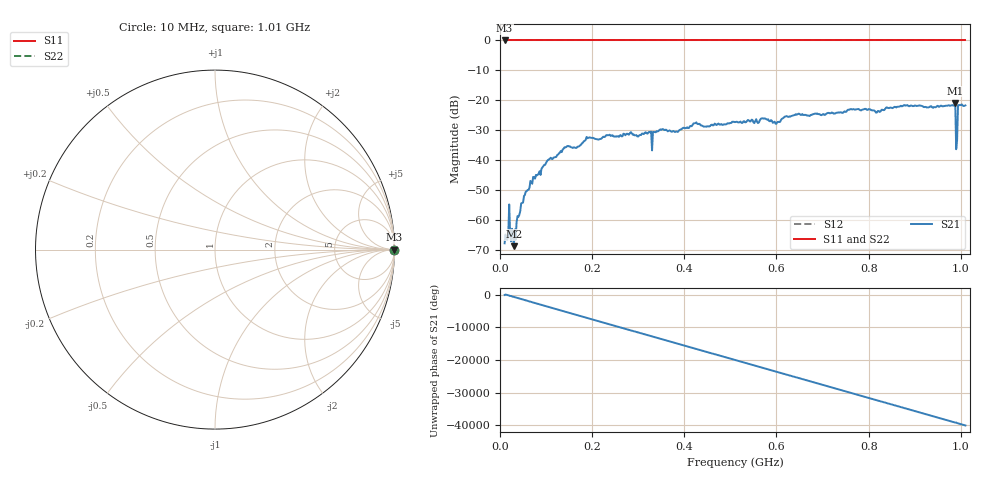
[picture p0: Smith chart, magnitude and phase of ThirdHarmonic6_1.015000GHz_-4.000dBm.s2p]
! 8/16/2025 8:24:57 AM
! C:\ANRITSUVNA\TEMP\TEMP.S2P
! CHANNEL.1
! TR.MEASUREMENT
! RAW.DATA
! RF.CORRECTION.OFF
! AVERAGING.OFF
! IF.BANDWIDTH: 5KHZ
! SWEEPTYPE:  FREQ.SWEEP(Linear)
! Reference Plane Port Info
! PORT:  PORT1  PORT2
! DISTANCE:  0  m  0  m
! TIME:  0  s  0  s
! PHASE.OFFSET:  0  deg.  0  deg.
! LOSS:  0  dB  0  dB
! REF.LOSS:  0  dB  0  dB
! REF.FREQ:  0  Hz  0  Hz
! Power Info
! POWER:  -20  dBm  -20  dBm
! EFF.POWER:  -20  dBm  -20  dBm
! SOURCE.ATTEN:  0  dB  0  dB
! TEST.ATTEN:  0  dB  0  dB
# GHZ S RI R 50.0
! FREQ.GHZ  S11RE  S11IM  S21RE  S21IM  S12RE  S12IM  S22RE  S22IM
!; PortSelection: Port_12
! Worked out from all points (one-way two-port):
!   501 points, 10 MHz to 1.01 GHz, reference 50 ohm
!   highest |S21| = -20.91 dB at 988 MHz (marker M1); lowest = -68.7 dB at 30 MHz (marker M2)
!   lowest |S11| = 0.0 dB at 10 MHz (marker M3)
!   |S11| at or under -10 dB: nowhere
!   |S22| runs from 0.0 to 0.0 dB; largest |S21 - S12| = 1.1
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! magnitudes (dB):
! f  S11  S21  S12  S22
! 10 MHz  0.0  -67.7  0.0  0.0
! 22 MHz  0.0  -64.6  0.0  0.0
! 24 MHz  0.0  -67.1  0.0  0.0
! 26 MHz  0.0  -62.9  0.0  0.0
! 30 MHz  0.0  -68.7  0.0  0.0
! 50 MHz  0.0  -54.1  0.0  0.0
! 70 MHz  0.0  -47.8  0.0  0.0
! 106 MHz  0.0  -39.8  0.0  0.0
! 144 MHz  0.0  -35.5  0.0  0.0
! 178 MHz  0.0  -34.3  0.0  0.0
! 192 MHz  0.0  -32.5  0.0  0.0
! 334 MHz  0.0  -30.6  0.0  0.0
! 344 MHz  0.0  -30.2  0.0  0.0
! 510 MHz  0.0  -27.3  0.0  0.0
! 602 MHz  0.0  -27.2  0.0  0.0
! 678 MHz  0.0  -24.7  0.0  0.0
! 844 MHz  0.0  -22.6  0.0  0.0
! 984 MHz  0.0  -21.8  0.0  0.0
! 988 MHz  0.0  -20.9  0.0  0.0
! 994 MHz  0.0  -21.6  0.0  0.0
! 998 MHz  0.0  -21.6  0.0  0.0
! 1.01 GHz  0.0  -21.7  0.0  0.0
